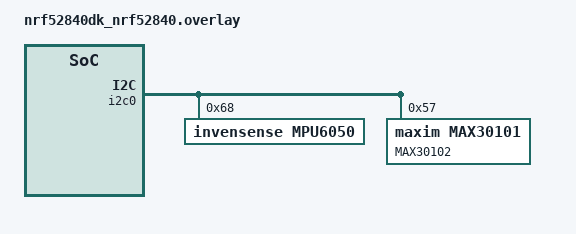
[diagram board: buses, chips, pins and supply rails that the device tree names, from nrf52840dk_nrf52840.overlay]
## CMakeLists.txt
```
# SPDX-License-Identifier: Apache-2.0

cmake_minimum_required(VERSION 3.20.0)

find_package(Zephyr REQUIRED HINTS $ENV{ZEPHYR_BASE})
project(peripheral_hr)

FILE(GLOB app_sources src/*.c)
target_sources(app PRIVATE
  ${app_sources}
  )

zephyr_library_include_directories(${ZEPHYR_BASE}/samples/bluetooth)

add_subdirectory(src/max30102)
add_subdirectory(src/mpu6050)
add_subdirectory(src/data_svc)
```

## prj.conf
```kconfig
CONFIG_BT=y
CONFIG_LOG=y
CONFIG_BT_SMP=y
CONFIG_BT_PERIPHERAL=y
CONFIG_BT_DIS=y
CONFIG_BT_DIS_PNP=n
CONFIG_BT_DIS_MODEL="Hypnogogia v0.0.2"
CONFIG_BT_DIS_MANUF="Alpine Dreamware LLC"
CONFIG_BT_DEVICE_NAME="My Sleep Mask"
CONFIG_BT_DEVICE_APPEARANCE=833
CONFIG_I2C=y
CONFIG_NRFX_TIMER0=y

CONFIG_BT_BUF_ACL_RX_SIZE=251
CONFIG_BT_BUF_ACL_TX_SIZE=251
CONFIG_BT_L2CAP_TX_MTU=247
CONFIG_BT_CTLR_DATA_LENGTH_MAX=251
```

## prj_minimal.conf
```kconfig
CONFIG_BT=y
CONFIG_BT_SMP=y
CONFIG_BT_PERIPHERAL=y
CONFIG_BT_DIS=y
CONFIG_BT_DIS_PNP=n
CONFIG_BT_BAS=y
CONFIG_BT_HRS=y
CONFIG_BT_DEVICE_NAME="Zephyr Heartrate Sensor"
CONFIG_BT_DEVICE_APPEARANCE=833

# Drivers and peripherals
CONFIG_I2C=y
CONFIG_WATCHDOG=n
CONFIG_PINCTRL=n
CONFIG_SPI=n
CONFIG_GPIO=n
CONFIG_SERIAL=n

# Power management
CONFIG_PM=n

# Interrupts
CONFIG_DYNAMIC_INTERRUPTS=n
CONFIG_IRQ_OFFLOAD=n

# Memory protection
CONFIG_THREAD_STACK_INFO=n
CONFIG_THREAD_CUSTOM_DATA=n
CONFIG_FPU=n

# Boot
CONFIG_BOOT_BANNER=n
CONFIG_BOOT_DELAY=0

# Console
CONFIG_CONSOLE=n
CONFIG_UART_CONSOLE=n
CONFIG_STDOUT_CONSOLE=n
CONFIG_PRINTK=n
CONFIG_EARLY_CONSOLE=n

# Build
CONFIG_SIZE_OPTIMIZATIONS=y

# ARM
CONFIG_ARM_MPU=n

# In order to correctly tune the stack sizes for the threads the following
# Configurations can enabled to print the current use:
# CONFIG_THREAD_NAME=y
# CONFIG_THREAD_ANALYZER=y
# CONFIG_THREAD_ANALYZER_AUTO=y
# CONFIG_THREAD_ANALYZER_RUN_UNLOCKED=y
# CONFIG_THREAD_ANALYZER_USE_PRINTK=y
# CONFIG_THREAD_ANALYZER_AUTO_INTERVAL=20
# CONFIG_CONSOLE=y
# CONFIG_UART_CONSOLE=y
# CONFIG_SERIAL=y
# CONFIG_PRINTK=y

# Example output of thread analyzer
# BT RX               : STACK: unused 576 usage 448 / 1024 (43 %); CPU: 0 %
# BT RX pri           : STACK: unused 260 usage 188 / 448 (41 %); CPU: 0 %
# BT ECC              : STACK: unused 256 usage 888 / 1144 (77 %); CPU: 1 %
# BT TX               : STACK: unused 296 usage 344 / 640 (53 %); CPU: 0 %
# thread_analyzer     : STACK: unused 128 usage 384 / 512 (75 %); CPU: 1 %
# sysworkq            : STACK: unused 856 usage 168 / 1024 (16 %); CPU: 0 %
# logging             : STACK: unused 232 usage 536 / 768 (69 %); CPU: 0 %
# idle 00             : STACK: unused 208 usage 48 / 256 (18 %); CPU: 97 %
# main                : STACK: unused 576 usage 448 / 1024 (43 %); CPU: 0 %
CONFIG_BT_RX_STACK_SIZE=1024
CONFIG_BT_HCI_TX_STACK_SIZE_WITH_PROMPT=y
CONFIG_BT_HCI_TX_STACK_SIZE=640
CONFIG_SYSTEM_WORKQUEUE_STACK_SIZE=512
CONFIG_IDLE_STACK_SIZE=128
CONFIG_MAIN_STACK_SIZE=640
CONFIG_ISR_STACK_SIZE=1024

# Disable features not needed
CONFIG_TIMESLICING=n
CONFIG_COMMON_LIBC_MALLOC=n
CONFIG_LOG=n
CONFIG_ASSERT=n

# Disable Bluetooth features not needed
# CONFIG_BT_DEBUG_NONE=y
CONFIG_BT_ASSERT=n
CONFIG_BT_DATA_LEN_UPDATE=n
CONFIG_BT_PHY_UPDATE=n
CONFIG_BT_GATT_CACHING=n
CONFIG_BT_GATT_SERVICE_CHANGED=n
CONFIG_BT_GAP_PERIPHERAL_PREF_PARAMS=n
CONFIG_BT_SETTINGS_CCC_LAZY_LOADING=y
CONFIG_BT_HCI_VS=n

# Disable Bluetooth controller features not needed
CONFIG_BT_CTLR_PRIVACY=n
CONFIG_BT_CTLR_PHY_2M=n

# Reduce Bluetooth buffers
CONFIG_BT_BUF_EVT_DISCARDABLE_COUNT=1
CONFIG_BT_BUF_EVT_DISCARDABLE_SIZE=45
CONFIG_BT_BUF_ACL_RX_COUNT=2
CONFIG_BT_BUF_EVT_RX_COUNT=2

CONFIG_BT_L2CAP_TX_BUF_COUNT=2
CONFIG_BT_CTLR_RX_BUFFERS=1
CONFIG_BT_BUF_ACL_TX_COUNT=3
CONFIG_BT_BUF_ACL_TX_SIZE=27
```

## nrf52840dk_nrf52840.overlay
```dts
// For more help, browse the DeviceTree documentation at https://docs.zephyrproject.org/latest/guides/dts/index.html
// You can also visit the nRF DeviceTree extension documentation at https://docs.nordicsemi.com/bundle/nrf-connect-vscode/page/guides/ncs_configure_app.html#devicetree-support-in-the-extension
&i2c0 {
    compatible = "nordic,nrf-twi";
    status = "okay";
    pinctrl-0 = <&i2c0_default>;
    pinctrl-1 = <&i2c0_sleep>;
    pinctrl-names = "default", "sleep";
    i2c_device0: mpu6050@68{
        compatible = "invensense,mpu6050";
        reg = <0x68>;
        label = "MPU6050";
    };
    i2c_device1: max30102@57{
        compatible = "maxim,max30101";
        reg = <0x57>;
        label = "MAX30102";
    };
};
```

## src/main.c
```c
/* main.c - Application main entry point */

/*
 * Copyright (c) 2024 Nordic Semiconductor ASA
 * Copyright (c) 2015-2016 Intel Corporation
 *
 * SPDX-License-Identifier: Apache-2.0
 */
#include <zephyr/kernel.h>
#include <zephyr/device.h>
#include <zephyr/devicetree.h>

#include <zephyr/bluetooth/bluetooth.h>
#include <zephyr/bluetooth/hci.h>
#include <zephyr/bluetooth/conn.h>
#include <zephyr/bluetooth/uuid.h>
#include <zephyr/bluetooth/gatt.h>

#include <zephyr/drivers/i2c.h>

#include "max30102.h"
#include "mpu6050.h"
#include "data_svc.h"

max_ctx_t * max_c;
mpu_ctx_t * mpu_c;

struct bt_conn *my_connection;

typedef struct __attribute__((packed)){
	uint32_t uptime;
	uint32_t red_light;
	uint32_t ir_light;
	uint32_t accel_x;
	uint32_t accel_y;
	uint32_t accel_z;
} data_sample_t;

typedef struct __attribute__((packed)){
	data_sample_t samples[10];
} data_packet_t;

#define DEVICE_NAME 		CONFIG_BT_DEVICE_NAME // Set in proj.conf
#define DEVICE_NAME_LEN        	(sizeof(DEVICE_NAME) - 1)
static K_SEM_DEFINE(ble_init_ok, 0, 1);

void init_max30102(struct i2c_dt_spec * dev)
{
	max_c = max_create(dev);
	uint8_t redLedBrightness = 0x1f; // Options: 0=Off to 255=50mA
	uint8_t irLedBrightness = 0x1f;	 // Options: 0=Off to 255=50mA
	uint8_t sampleAverage = 1;		 // Options: 1, 2, 4, 8, 16, 32
	uint8_t ledMode = 2;			 // Options: 1 = Red only, 2 = Red + IR
	int sampleRate = 3200;			 // Options: 50, 100, 200, 400, 800, 1000, 1600, 3200
	int pulseWidth = 69;			 // Options: 69, 118, 215, 411
	int adcRange = 4096;			 // Options: 2048, 4096, 8192, 16384
	max_setup(max_c, redLedBrightness, irLedBrightness, sampleAverage, ledMode, sampleRate, pulseWidth, adcRange);
	return;
}

void init_mpu6050(struct i2c_dt_spec * dev)
{
	mpu_c = MPU6050_create(dev);
    MPU6050_reset(mpu_c);
    MPU6050_initialize(mpu_c);
	return;
}

static const struct bt_data ad[] = 
{
	BT_DATA_BYTES(BT_DATA_FLAGS, (BT_LE_AD_GENERAL | BT_LE_AD_NO_BREDR)),
	BT_DATA(BT_DATA_NAME_COMPLETE, DEVICE_NAME, DEVICE_NAME_LEN),
};

static const struct bt_data sd[] = 
{
	BT_DATA_BYTES(BT_DATA_UUID128_ALL, MY_SERVICE_UUID),
};

struct bt_conn *my_connection;

static void connected(struct bt_conn *conn, uint8_t err)
{
	struct bt_conn_info info; 
	char addr[BT_ADDR_LE_STR_LEN];

	my_connection = conn;

	if (err) 
	{
		printk("Connection failed (err %u)\n", err);
		return;
	}
	else if(bt_conn_get_info(conn, &info))
	{
		printk("Could not parse connection info\n");
	}
	else
	{
		bt_addr_le_to_str(bt_conn_get_dst(conn), addr, sizeof(addr));
		
		printk("Connection established!		\n\
		Connected to: %s					\n\
		Role: %u							\n\
		Connection interval: %u				\n\
		Slave latency: %u					\n\
		Connection supervisory timeout: %u	\n"
		, addr, info.role, info.le.interval, info.le.latency, info.le.timeout);
	}
}

static void disconnected(struct bt_conn *conn, uint8_t reason)
{
	printk("Disconnected (reason %u)\n", reason);
}

static bool le_param_req(struct bt_conn *conn, struct bt_le_conn_param *param)
{
	//If acceptable params, return true, otherwise return false.
	return true; 
}

static void le_param_updated(struct bt_conn *conn, uint16_t interval, uint16_t latency, uint16_t timeout)
{
	struct bt_conn_info info; 
	char addr[BT_ADDR_LE_STR_LEN];
	
	if(bt_conn_get_info(conn, &info))
	{
		printk("Could not parse connection info\n");
	}
	else
	{
		bt_addr_le_to_str(bt_conn_get_dst(conn), addr, sizeof(addr));
		
		printk("Connection parameters updated!	\n\
		Connected to: %s						\n\
		New Connection Interval: %u				\n\
		New Slave Latency: %u					\n\
		New Connection Supervisory Timeout: %u	\n"
		, addr, info.le.interval, info.le.latency, info.le.timeout);
	}
}

static struct bt_conn_cb conn_callbacks = 
{
	.connected				= connected,
	.disconnected   		= disconnected,
	.le_param_req			= le_param_req,
	.le_param_updated		= le_param_updated
};

static void bt_ready(int err)
{
	if (err) 
	{
		printk("BLE init failed with error code %d\n", err);
		return;
	}

	//Configure connection callbacks
	bt_conn_cb_register(&conn_callbacks);

	//Initalize services
	err = my_service_init();

	if (err) 
	{
		printk("Failed to init LBS (err:%d)\n", err);
		return;
	}

	//Start advertising
	err = bt_le_adv_start(BT_LE_ADV_CONN, ad, ARRAY_SIZE(ad),
			      sd, ARRAY_SIZE(sd));
	if (err) 
	{
		printk("Advertising failed to start (err %d)\n", err);
		return;
	}

	printk("Advertising successfully started\n");

	k_sem_give(&ble_init_ok);
}

static void error(void)
{
	while (true) {
		printk("Error!\n");
		/* Spin for ever */
		k_sleep(K_MSEC(1000)); //1000ms
	}
}

void print_sample(data_sample_t sample)
{
	printk("========================================\n");
	printk("uptime: %u \n", sample.uptime);
	printk("red: %u ir: %u\n", sample.red_light, sample.ir_light);
	printk("ax: %u ay: %u az: %u\n", sample.accel_x, sample.accel_y, sample.accel_z);
	printk("========================================\n");
}

int main(void)
{
	static struct i2c_dt_spec mpu6050_dev = I2C_DT_SPEC_GET(DT_NODELABEL(i2c_device0));
	static struct i2c_dt_spec max30102_dev = I2C_DT_SPEC_GET(DT_NODELABEL(i2c_device1));
	int err = 0;
	uint32_t number = 0;
	data_packet_t packet;
	data_sample_t sample;
	uint16_t ax, ay, az = 0;
	uint32_t red, ir = 0;
	uint32_t uptime = 0;
	if (!i2c_is_ready_dt(&mpu6050_dev))
	{
		printk("MPU6050 is not ready.\n");
		return 0;
	}
	printk("MPU6050 is ready.\n");
	init_mpu6050(&mpu6050_dev);
	printk("MPU6050 is initialized.\n");
	if (!i2c_is_ready_dt(&max30102_dev))
	{
		printk("MAX30102 is not ready.\n");
		return 0;
	}
	printk("MAX30102 is ready.\n");
	init_max30102(&max30102_dev);
	printk("MAX30102 is initialized.\n");

	memset(&packet, 0, sizeof(data_packet_t));

	printk("Starting BLE peripheral.\n");

	
	err = bt_enable(bt_ready);

	if (err) 
	{
		printk("BLE initialization failed\n");
		error(); //Catch error
	}
	
	/* 	Bluetooth stack should be ready in less than 100 msec. 								\
																							\
		We use this semaphore to wait for bt_enable to call bt_ready before we proceed 		\
		to the main loop. By using the semaphore to block execution we allow the RTOS to 	\
		execute other tasks while we wait. */	
	err = k_sem_take(&ble_init_ok, K_MSEC(500));

	if (!err) 
	{
		printk("Bluetooth initialized\n");
	} else 
	{
		printk("BLE initialization did not complete in time\n");
		error(); //Catch error
	}

	//Initalize services
	err = my_service_init();

	for (;;) 
	{
		uint32_t now;
		uint32_t later;
		now = k_uptime_get_32();
		for (int i = 0; i < 10; i++)
		{
			memset(&sample, 0, sizeof(data_sample_t));
			sample.uptime = k_uptime_get_32();
			MPU6050_getAcceleration(mpu_c, &ax, &ay, &az);
			sample.accel_x = (uint32_t)((UINT32_MAX/2) + ax);
			sample.accel_y = (uint32_t)((UINT32_MAX/2) + ay);
			sample.accel_z = (uint32_t)((UINT32_MAX/2) + az);
			red = max_get_red(max_c);
            ir = max_get_ir(max_c);
			sample.red_light = red;
			sample.ir_light = ir;
			memcpy(&packet.samples[i], &sample, sizeof(data_sample_t));
			//print_sample(sample);
		}
		later = k_uptime_get_32();
		printk("Time to Record: %d\n", later-now);
		//printk("Size of packet: %d\n", sizeof(data_packet_t));
		// Main loop
		my_service_send(my_connection, (uint8_t *)&packet, sizeof(data_packet_t));
		//k_sleep(K_MSEC(1000)); // 1000ms
	}

	return 0;
}
```
